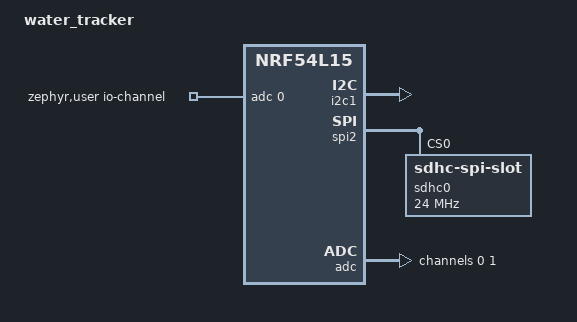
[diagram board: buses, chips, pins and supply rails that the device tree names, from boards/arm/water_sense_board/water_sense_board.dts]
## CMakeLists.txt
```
cmake_minimum_required(VERSION 3.20.0)
find_package(Zephyr REQUIRED HINTS $ENV{ZEPHYR_BASE})

project(firmware_nrf_board_testing)

target_sources(app PRIVATE src/main.c)
```

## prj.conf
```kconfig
# Board bring-up test: prove the MCU runs and can talk to us.

# Console over SEGGER RTT. No UART pins are assigned on this board, and RTT
# works over the J-Link that is attached for flashing anyway — so this costs no
# pins and no board changes.
#
# To watch it:  west build ... && west flash && JLinkRTTViewer
# (or `west attach` / `JLinkRTTLogger` — anything that opens RTT channel 0)
CONFIG_CONSOLE=y
CONFIG_USE_SEGGER_RTT=y
CONFIG_RTT_CONSOLE=y
CONFIG_SERIAL=n
CONFIG_UART_CONSOLE=n

CONFIG_LOG=y
CONFIG_LOG_BACKEND_RTT=y
CONFIG_LOG_BACKEND_UART=n
# Immediate mode: log lines appear as they happen rather than via a deferred
# thread. Slower, and exactly what is wanted when the question is "does it get
# this far before it dies".
CONFIG_LOG_MODE_IMMEDIATE=y

CONFIG_GPIO=y
```

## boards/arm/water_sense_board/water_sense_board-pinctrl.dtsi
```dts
&pinctrl {

  i2c1_default: i2c1_default {
    group1 {
      psels = <NRF_PSEL(TWIM_SCL, 1, 8)>,
              <NRF_PSEL(TWIM_SDA, 1, 13)>;
    };
  };

  i2c1_sleep: i2c1_sleep {
    group1 {
      psels = <NRF_PSEL(TWIM_SCL, 1, 8)>,
              <NRF_PSEL(TWIM_SDA, 1, 13)>;
    };
    low-power-enable;
  };

  spi2_default: spi2_default {
    group1 {
      psels = <NRF_PSEL(SPIM_SCK, 2, 1)>,
              <NRF_PSEL(SPIM_MOSI, 2, 4)>,
              <NRF_PSEL(SPIM_MISO, 2, 2)>;
    };
  };

  spi2_sleep: spi2_sleep {
    group1 {
      psels = <NRF_PSEL(SPIM_SCK, 2, 1)>,
              <NRF_PSEL(SPIM_MOSI, 2, 4)>,
              <NRF_PSEL(SPIM_MISO, 2, 2)>;
    };
    low-power-enable;
  };
};
```

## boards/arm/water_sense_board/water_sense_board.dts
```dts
/dts-v1/;
#include <nordic/nrf54L15_M33.dtsi>
#include "water_sense_board-pinctrl.dtsi"
//#include <zephyr/dt-bindings/input/input-event-codes.h>

/ {
	model = "water_tracker";
	compatible = "ethzurich,water_tracker";

	chosen {
		zephyr,sram = &sram0;
		zephyr,flash = &flash0;
		zephyr,code-partition = &slot0_partition;

	};

	/* These aliases are provided for compatibility with samples */
	aliases {
		watchdog0 = &wdt0;
	};

	zephyr,user {
		io-channels = <&adc 0>;
	};
};

&flash0 {
	partitions {
		compatible = "fixed-partitions";
		#address-cells = <1>;
		#size-cells = <1>;

		boot_partition: partition@0 {
			label = "mcuboot";
			reg = <0x00000000 DT_SIZE_K(48)>;
		};

		slot0_partition: partition@c000 {
			label = "image-0";
			reg = <0x0000c000 DT_SIZE_K(220)>;
		};

		slot1_partition: partition@43000 {
			label = "image-1";
			reg = <0x00043000 DT_SIZE_K(220)>;
		};

		storage_partition: partition@7a000 {
			label = "storage";
			reg = <0x0007a000 DT_SIZE_K(24)>;
		};
	};
};

&gpiote {
	status = "okay";
};

&gpio0 {
	status = "okay";
	label = "GPIO0";
};


// Enable I2C1 node
&i2c1 {
	status = "okay";
	pinctrl-0 = <&i2c1_default>;
	pinctrl-1 = <&i2c1_sleep>;
	pinctrl-names = "default", "sleep";
};

// Enable SPI2 node
&spi2 {

	status = "okay";
	pinctrl-0 = <&spi2_default>;
	pinctrl-1 = <&spi2_sleep>;
	pinctrl-names = "default", "sleep";

	sdhc0: sdhc@0 {
		status = "okay";
		compatible = "zephyr,sdhc-spi-slot";
		reg = <0>;
		power-delay-ms = <500>;
	   	spi-max-frequency = <24000000>;
		mmc {
			status = "okay";
			compatible = "zephyr,sdmmc-disk";
		};
	};
};

// Configure the ADC channel
&adc {
	#address-cells = <1>;
	#size-cells = <0>;
	status = "okay";
	channel@0 {
		reg = <0>;
		zephyr,gain = "ADC_GAIN_1_6";
		zephyr,reference = "ADC_REF_INTERNAL";
		zephyr,acquisition-time = <ADC_ACQ_TIME(ADC_ACQ_TIME_MICROSECONDS, 5)>;
		zephyr,input-positive = <NRF_SAADC_AIN2>;
		zephyr,resolution = <12>;
		zephyr,oversampling = <4>;
	};
	channel@1 {
		reg = <1>;
		zephyr,gain = "ADC_GAIN_1_6";
		zephyr,reference = "ADC_REF_INTERNAL";
		zephyr,acquisition-time = <ADC_ACQ_TIME(ADC_ACQ_TIME_MICROSECONDS, 5)>;
		zephyr,input-positive = <NRF_SAADC_AIN4>;
		zephyr,resolution = <12>;
		zephyr,oversampling = <4>;
	};
};
```

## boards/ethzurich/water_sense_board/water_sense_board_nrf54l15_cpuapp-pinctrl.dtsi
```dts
/*
 * Pin assignments — all from Victor, unchanged from the original board file
 * except for the AP_CLK group, which is new.
 *
 *   SCL      P1.08      SDA      P1.13
 *   SCK      P2.01      SDI      P2.04      SDO      P2.02
 *   CS       P0.00      — driven in software from the port file, so it is
 *                         deliberately NOT a pinctrl signal. On nRF, chip
 *                         select never is: SPIM does not drive it. That is also
 *                         why CS can sit on P0 while the SPI signals are on P2:
 *                         a plain GPIO has no power-domain tie to the
 *                         peripheral, whereas a pinctrl signal does.
 *   AP_CLK   P0.13      — INVALID. P0 has 7 pins on this SoC (P0.00..P0.06),
 *                         so P0.13 does not exist. The consuming pwm20 node is
 *                         disabled until Victor supplies a real pin; see the
 *                         long note there.
 *
 * SPDX-License-Identifier: Apache-2.0
 */

&pinctrl {

	i2c1_default: i2c1_default {
		group1 {
			psels = <NRF_PSEL(TWIM_SCL, 1, 8)>,
				<NRF_PSEL(TWIM_SDA, 1, 13)>;
		};
	};

	i2c1_sleep: i2c1_sleep {
		group1 {
			psels = <NRF_PSEL(TWIM_SCL, 1, 8)>,
				<NRF_PSEL(TWIM_SDA, 1, 13)>;
		};
		low-power-enable;
	};

	spi2_default: spi2_default {
		group1 {
			psels = <NRF_PSEL(SPIM_SCK, 2, 1)>,
				<NRF_PSEL(SPIM_MOSI, 2, 4)>,
				<NRF_PSEL(SPIM_MISO, 2, 2)>;
		};
	};

	spi2_sleep: spi2_sleep {
		group1 {
			psels = <NRF_PSEL(SPIM_SCK, 2, 1)>,
				<NRF_PSEL(SPIM_MOSI, 2, 4)>,
				<NRF_PSEL(SPIM_MISO, 2, 2)>;
		};
		low-power-enable;
	};

	/*
	 * AP_CLK — 8 MHz to the VL53L9CX.
	 *
	 * P0.13 BELOW IS NOT A REAL PIN and this group is not in use: gpio0 has
	 * ngpios = <7> on this SoC. It is left here, referenced only by a
	 * disabled node, so the intent is visible and one edit revives it.
	 *
	 * Two constraints on the replacement pin:
	 *   - it must exist: P0.00-P0.06, P1.00-P1.15, P2.00-P2.10
	 *   - it must be on P1 or P2 if PWM drives it. PWM_OUT never appears on
	 *     port 0 in Nordic's own boards, and pwm20/21/22 are 20-domain parts
	 *     while P0 is 30-domain.
	 *
	 * NOTE this would NOT have failed at build time. NRF_PSEL() only encodes
	 * port and pin into an integer; nothing checks the pin exists. It would
	 * have built, run, and produced no clock — and a VL53L9CX with no clock
	 * does not acknowledge its I2C address, which reads as a dead sensor.
	 */
	pwm_apclk_default: pwm_apclk_default {
		group1 {
			psels = <NRF_PSEL(PWM_OUT0, 0, 13)>;
		};
	};

	pwm_apclk_sleep: pwm_apclk_sleep {
		group1 {
			psels = <NRF_PSEL(PWM_OUT0, 0, 13)>;
			low-power-enable;
		};
	};
};
```

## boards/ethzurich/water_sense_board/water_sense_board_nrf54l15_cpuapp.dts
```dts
/*
 * Water sense board — ISP2454-LX (Nordic nRF54L15) + VL53L9CX + SD card.
 *
 * Migrated 2026-09-04 from Victor's hardware-model-v1 board file, for nRF
 * Connect SDK v3.3. The original is recoverable at commit ec65298.
 *
 * ---------------------------------------------------------------------------
 * WHAT SURVIVED UNCHANGED: every pin Victor assigned, the ADC configuration,
 * the BT_CTLR default, and the intent of the SPI/SD arrangement.
 *
 * WHAT CHANGED, and why:
 *   - hardware model v1 -> v2 (the reason nothing built under NCS 3.3)
 *   - nrf54L15_M33.dtsi -> nrf54l15_cpuapp.dtsi, and the SoC symbol with it
 *   - flash0/sram0 -> cpuapp_rram/cpuapp_sram; the nRF54L15 has RRAM
 *   - partitions resized from 512 KB to the full 1428 KB, MCUboot dropped
 *   - gpio1 and gpio2 enabled (where the pins actually are), gpio0 too
 *   - AP_CLK: 8 MHz on P0.00 from GRTC clkout-fast, not PWM
 *   - RTT console added, so the board can say something
 *   - sdhc0 disabled pending the chip-select decision — see the note on it
 *
 * PERIPHERAL INSTANCE NAMES ARE THE REMAINING GUESS. The nRF54L15 numbers by
 * power domain. i2c21 and spi20 below are chosen to match the pin domains
 * (P1 -> 20-series, P2 -> the fast domain), but if the build says a node does
 * not exist, diff against zephyr/boards/nordic/nrf54l15dk/ in the installed
 * SDK — that is the authority, and it settles every name here at once.
 * ---------------------------------------------------------------------------
 *
 * SPDX-License-Identifier: Apache-2.0
 */

/dts-v1/;

#include <nordic/nrf54l15_cpuapp.dtsi>
#include <zephyr/dt-bindings/adc/adc.h>
#include <zephyr/dt-bindings/gpio/gpio.h>
#include <zephyr/dt-bindings/i2c/i2c.h>
#include "water_sense_board_nrf54l15_cpuapp-pinctrl.dtsi"

/ {
	model = "water_tracker";
	compatible = "ethzurich,water_tracker";

	chosen {
		zephyr,sram = &cpuapp_sram;
		zephyr,flash = &cpuapp_rram;

		/*
		 * Console over SEGGER RTT, not a UART.
		 *
		 * No UART pins are assigned on this board and the pin budget is
		 * already committed, so RTT costs nothing and works over the
		 * J-Link that is attached anyway. Swap for a UART later if the
		 * pins appear.
		 *
		 * NO zephyr,code-partition: without MCUboot in the build it
		 * would link the image at a bootloader offset the chip never
		 * jumps to, which looks exactly like a dead board. Add it back
		 * together with sysbuild and MCUboot, not before.
		 */
	};

	aliases {
		/*
		 * watchdog0 = &wdt0 was in the original and is dropped: wdt0
		 * does not exist on this SoC (the instances are numbered by
		 * domain, wdt30/wdt31). Nothing referenced it. Re-add pointing
		 * at the real instance if a watchdog is wanted.
		 */
	};

	zephyr,user {
		io-channels = <&adc 0>;
	};
};

/* ---------------------------------------------------------------------------
 * Memory. 1428 KB is what the application core actually has — the remainder of
 * the nRF54L15's RRAM is reserved for the FLPR core. The previous table mapped
 * 512 KB of it and left the other two thirds stranded.
 *
 * No bootloader here, so the application gets everything up to the storage
 * area. Adding MCUboot later is a partition change and a rebuild, not a
 * redesign — the four-partition layout is in
 * docs/hardware/water-sense-board-review.md.
 * -------------------------------------------------------------------------*/
&cpuapp_rram {
	partitions {
		compatible = "fixed-partitions";
		#address-cells = <1>;
		#size-cells = <1>;

		slot0_partition: partition@0 {
			label = "image-0";
			reg = <0x00000000 DT_SIZE_K(1400)>;
		};

		storage_partition: partition@15e000 {
			label = "storage";
			reg = <0x0015e000 DT_SIZE_K(28)>;
		};
	};
};

/* All three ports enabled.
 *
 * gpio2 is the one that matters: chip select on P2.05 is driven in software
 * from the port file, and a software-driven pin needs the GPIO driver even
 * though pinctrl signals do not. gpio1 and gpio0 carry only pinctrl signals
 * (the I2C bus and AP_CLK respectively) and would work without this, but there
 * is no reason to leave ports off on a board still being brought up.
 */
&gpio0 {
	status = "okay";
};

&gpio1 {
	status = "okay";
};

&gpio2 {
	status = "okay";
};

&gpiote20 {
	status = "okay";
};

&gpiote30 {
	status = "okay";
};

/* ---------------------------------------------------------------------------
 * AP_CLK for the VL53L9CX — 8 MHz on P0.00, from the GRTC fast clock output.
 *
 * P0.13 was given first and is not a pin on this SoC (gpio0 has ngpios = <7>,
 * so P0.00..P0.06). Corrected to P0.00 by Victor. That correction also forces
 * the mechanism: PWM cannot drive port 0, so this is GRTC, not pwm20.
 *
 * WHY THIS IS BETTER THAN THE PWM IT REPLACES. From
 * zephyr/drivers/timer/nrf_grtc_timer.c:
 *
 *     grtc_div = base_frequency / (requested_frequency * 2)
 *     #error if requested > base / 2
 *
 * with base = pclk = 16 MHz. So the maximum fast-clock output is 8 MHz, and at
 * 8 MHz the divider is exactly 1. Our frequency is the top of the range and
 * lands on an integer divider — none of the COUNTERTOP-of-2 marginality that
 * made 8 MHz a stretch on a PWM.
 *
 * It is also the ONLY usable value: the next divider down gives 4 MHz, which
 * is below the sensor's 6 MHz minimum. The constraint picked the number again,
 * independently of the PWM reasoning that first arrived at it.
 *
 * ONE CONSEQUENCE FOR STAGE 4, and it is a real trade rather than a detail:
 * the GRTC clock output is configured once at boot and runs continuously.
 * Zephyr exposes no runtime gate for it, so AP_CLK can no longer be switched
 * off with the sensor power domain the way the driver was designed to. Either
 * accept an always-on 8 MHz output and measure what it costs, or move AP_CLK
 * to a P1/P2 pin on a PWM, which is gateable but marginal at 8 MHz. Worth
 * deciding with the Power Profiler rather than in advance.
 * -------------------------------------------------------------------------*/
&grtc {
	/* status = "okay" is not optional and is not about AP_CLK: the GRTC is
	 * this SoC's system timer, and the SoC dtsi ships it disabled. Without
	 * this line CONFIG_SYS_CLOCK_HW_CYCLES_PER_SEC is never defined and the
	 * build fails deep inside sys/clock.h with "operator '==' has no left
	 * operand", which names nothing useful. The original board file did not
	 * enable it either — it simply never got far enough to find out.
	 */
	status = "okay";

	/* Which of the 12 capture/compare channels this core owns, and which it
	 * lends to the FLPR core and to Zero Latency IRQs. The GRTC timer driver
	 * #errors without them. Values taken from Nordic's own
	 * nrf54l_05_10_15_cpuapp_common.dtsi — channels 7-11 for ZLI, 3-4 for
	 * FLPR — and worth revisiting only if the FLPR core is ever used here.
	 */
	owned-channels = <0 1 2 3 4 5 6 7 8 9 10 11>;
	child-owned-channels = <3 4 7 8 9 10 11>;

	clkout-fast-frequency-hz = <8000000>;
	pinctrl-0 = <&grtc_default>;
	pinctrl-1 = <&grtc_sleep>;
	pinctrl-names = "default", "sleep";
};

/* I2C: SCL P1.08, SDA P1.13. Instance renamed from i2c1, which does not exist
 * on this SoC.
 *
 * 400 kHz rather than the default 100 kHz: a full 54x42 VL53L9CX frame is
 * 14,842 bytes, which is ~404 ms at 400 kHz and ~1.6 s at 100 kHz.
 *
 * If the board has no external pull-ups on SDA/SCL, add bias-pull-up to the
 * pinctrl group — it is silent either way until the bus does not work.
 */
&i2c21 {
	status = "okay";
	compatible = "nordic,nrf-twim";
	clock-frequency = <I2C_BITRATE_FAST>;

	pinctrl-0 = <&i2c1_default>;
	pinctrl-1 = <&i2c1_sleep>;
	pinctrl-names = "default", "sleep";

	/* The VL53L9CX node is NOT here on purpose. It belongs in an
	 * application-level overlay, so this board file stays about the board
	 * and the sensor's configuration travels with the application that
	 * uses it.
	 */
};

/* SPI to the SD card: SCK P2.01, MOSI/SDI P2.04, MISO/SDO P2.02.
 * Instance renamed from spi2, which does not exist on this SoC.
 */
&spi20 {
	status = "okay";
	pinctrl-0 = <&spi2_default>;
	pinctrl-1 = <&spi2_sleep>;
	pinctrl-names = "default", "sleep";

	/*
	 * DISABLED PENDING A DECISION, not deleted.
	 *
	 * Chip select on P2.05 is driven in software from the port file. This
	 * node is Zephyr's SD-over-SPI stack, and `reg = <0>` means "SPI device
	 * 0" — it expects the controller's cs-gpios[0] to exist and drives it
	 * around every transfer. The two cannot both own the pin: manual
	 * toggling underneath Zephyr's produces glitches that read as card
	 * timeouts.
	 *
	 * So, one or the other:
	 *   - Zephyr's stack: add `cs-gpios = <&gpio2 5 GPIO_ACTIVE_LOW>;` to
	 *     this node's parent and set status = "okay" here.
	 *   - Port file owns CS: delete this node and talk to the card with raw
	 *     SPI transactions.
	 *
	 * Left disabled so the board builds and boots either way, and so the SD
	 * path cannot fail confusingly at runtime before the decision is made.
	 */
	sdhc0: sdhc@0 {
		status = "disabled";
		compatible = "zephyr,sdhc-spi-slot";
		reg = <0>;
		power-delay-ms = <500>;
		spi-max-frequency = <24000000>;
		mmc {
			/* disk-name is REQUIRED by zephyr,sdmmc-disk and was
			 * missing. This is what stopped the build, and it
			 * predates the migration — the original board file had
			 * the same gap, so it would have failed on any SDK.
			 * Note the parent is disabled but this child was not,
			 * and devicetree validates any node that is enabled.
			 */
			status = "disabled";
			compatible = "zephyr,sdmmc-disk";
			disk-name = "SD";
		};
	};
};

/* ADC — carried over from the original unchanged.
 * VERIFY that NRF_SAADC_AIN2 / AIN4 still name the intended pins: the nRF54L
 * family has its own SAADC input bindings and the numbering is not always the
 * same as earlier nRF parts.
 */
&adc {
	#address-cells = <1>;
	#size-cells = <0>;
	status = "okay";

	channel@0 {
		reg = <0>;
		zephyr,gain = "ADC_GAIN_1_6";
		zephyr,reference = "ADC_REF_INTERNAL";
		zephyr,acquisition-time = <ADC_ACQ_TIME(ADC_ACQ_TIME_MICROSECONDS, 5)>;
		zephyr,input-positive = <NRF_SAADC_AIN2>;
		zephyr,resolution = <12>;
		zephyr,oversampling = <4>;
	};

	channel@1 {
		reg = <1>;
		zephyr,gain = "ADC_GAIN_1_6";
		zephyr,reference = "ADC_REF_INTERNAL";
		zephyr,acquisition-time = <ADC_ACQ_TIME(ADC_ACQ_TIME_MICROSECONDS, 5)>;
		zephyr,input-positive = <NRF_SAADC_AIN4>;
		zephyr,resolution = <12>;
		zephyr,oversampling = <4>;
	};
};
```

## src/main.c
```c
/*
 * water_sense_board bring-up test.
 *
 * Does nothing but prove the chain works: the image was built for the right
 * SoC, flashed to the right offset, booted, and can talk to a host. Everything
 * else on this board is unproven, so this deliberately touches no peripheral —
 * if this does not print, the problem is the toolchain, the partition offset,
 * or the debugger, and never the sensor or the SD card.
 *
 * Output goes over SEGGER RTT (no UART pins on this board). Open it with
 * JLinkRTTViewer, or `JLinkRTTLogger`, on channel 0.
 *
 * SPDX-License-Identifier: Apache-2.0
 */

#include <zephyr/kernel.h>
#include <zephyr/logging/log.h>
#include <zephyr/version.h>

LOG_MODULE_REGISTER(board_test, LOG_LEVEL_INF);

int main(void)
{
	uint32_t beat = 0;

	LOG_INF("========================================");
	LOG_INF(" water_sense_board is alive");
	LOG_INF(" board  : %s", CONFIG_BOARD_TARGET);
	LOG_INF(" zephyr : %s", KERNEL_VERSION_STRING);
	LOG_INF(" built  : " __DATE__ " " __TIME__);
	LOG_INF("========================================");

	/* One line a second, forever. The counter matters more than the text:
	 * if it stops, something reset the chip or wedged the log backend, and
	 * a resumed count starting from zero says "reset" rather than "hang".
	 */
	while (true) {
		LOG_INF("heartbeat %u  (uptime %lld ms)", beat++, k_uptime_get());
		k_sleep(K_SECONDS(1));
	}

	return 0;
}
```
